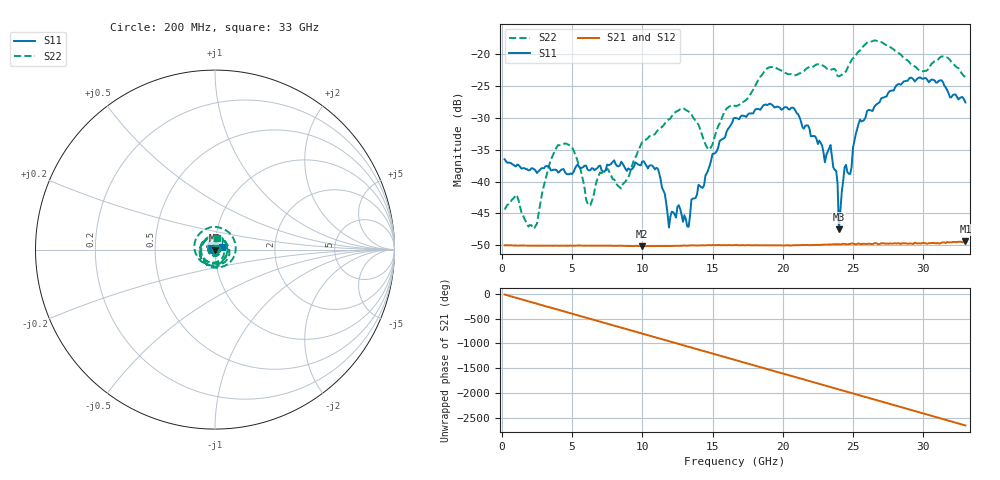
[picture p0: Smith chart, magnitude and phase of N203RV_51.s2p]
# GHZ S RI R 50
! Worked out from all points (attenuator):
!   329 points, 200 MHz to 33 GHz, reference 50 ohm
!   highest |S21| = -49.38 dB at 33 GHz (marker M1); lowest = -50.1 dB at 10 GHz (marker M2)
!   lowest |S11| = -47.5 dB at 24 GHz (marker M3), VSWR 1.01, Z = 49.9 - j0.411 ohm
!   |S11| at or under -10 dB: start of sweep to end of sweep
!   |S22| runs from -47.4 to -17.9 dB; largest |S21 - S12| = 7.2e-05
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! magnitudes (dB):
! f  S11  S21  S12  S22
! 200 MHz  -36.5  -50.0  -50.0  -44.4
! 2.3 GHz  -38.1  -50.0  -50.0  -47.4
! 4 GHz  -38.6  -50.0  -50.0  -34.3
! 5.7 GHz  -37.8  -50.0  -50.0  -39.0
! 6.2 GHz  -38.3  -50.0  -50.0  -43.7
! 7 GHz  -37.5  -50.0  -50.0  -38.6
! 8.5 GHz  -36.9  -50.0  -50.0  -41.1
! 10 GHz  -36.9  -50.1  -50.1  -33.8
! 11.2 GHz  -38.6  -50.1  -50.1  -31.9
! 11.9 GHz  -47.2  -50.1  -50.1  -30.2
! 13.3 GHz  -47.1  -50.0  -50.0  -29.0
! 14.7 GHz  -38.1  -50.0  -50.0  -35.0
! 16.6 GHz  -30.0  -49.9  -49.9  -28.2
! 22.1 GHz  -32.9  -49.9  -49.9  -22.1
! 23.4 GHz  -34.3  -49.9  -49.8  -22.5
! 23.9 GHz  -40.3  -49.8  -49.8  -23.5
! 24 GHz  -47.5  -49.8  -49.8  -23.6
! 24.4 GHz  -37.8  -49.7  -49.7  -22.9
! 24.8 GHz  -38.8  -49.8  -49.7  -21.4
! 25.5 GHz  -30.3  -49.8  -49.8  -19.5
! 27.6 GHz  -25.9  -49.7  -49.7  -18.9
! 33 GHz  -27.6  -49.4  -49.4  -23.6
